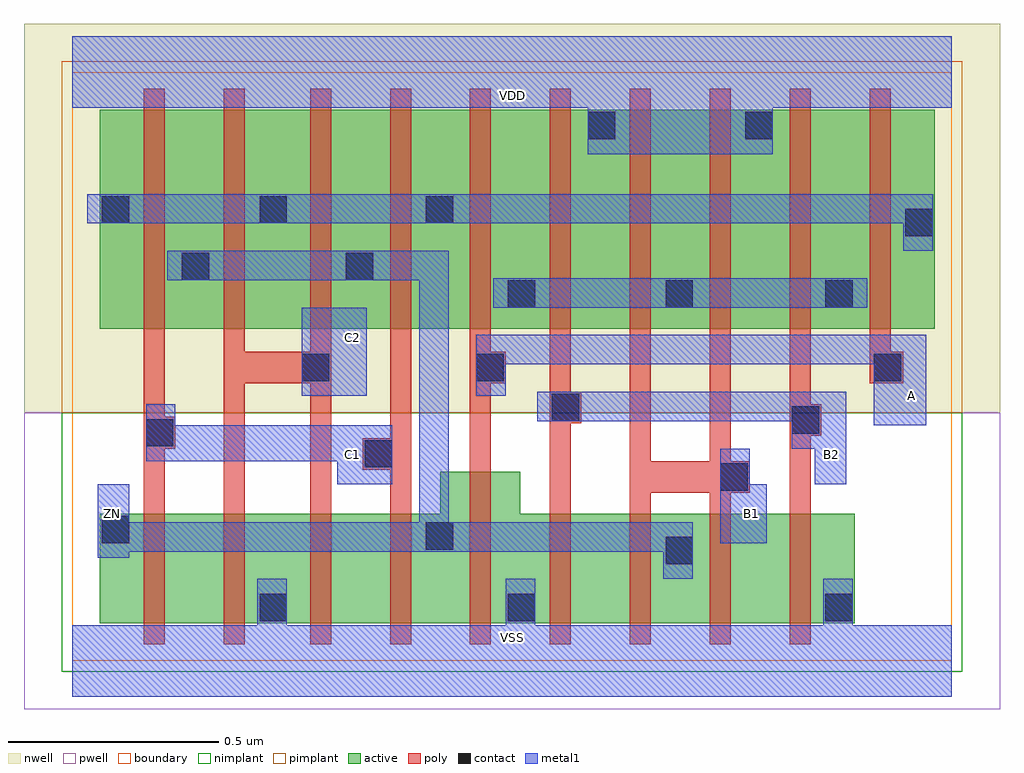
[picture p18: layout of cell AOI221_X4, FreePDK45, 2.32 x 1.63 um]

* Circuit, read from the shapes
.subckt AOI221_X4 A B1 B2 C1 C2 VDD VSS ZN
M1 n1 C1 ZN VSUBS nfet w=0.26u l=0.05u
M2 VSS C2 n1 VSUBS nfet w=0.26u l=0.05u
M3 n2 C2 VSS VSUBS nfet w=0.26u l=0.05u
M4 ZN C1 n2 VSUBS nfet w=0.26u l=0.05u
M5 VSS A ZN VSUBS nfet w=0.36u l=0.05u
M6 n3 B2 VSS VSUBS nfet w=0.26u l=0.05u
M7 ZN B1 n3 VSUBS nfet w=0.26u l=0.05u
M8 n4 B1 ZN VSUBS nfet w=0.26u l=0.05u
M9 VSS B2 n4 VSUBS nfet w=0.26u l=0.05u
M10 ZN C1 n5 n6 pfet w=0.52u l=0.05u m=2
M11 n5 C2 ZN n6 pfet w=0.52u l=0.05u m=2
M12 n7 A n5 n6 pfet w=0.52u l=0.05u m=2
M13 VDD B2 n7 n6 pfet w=0.52u l=0.05u m=2
M14 n7 B1 VDD n6 pfet w=0.52u l=0.05u m=2
.ends

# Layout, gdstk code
import gdstk
lib = gdstk.Library(unit=1e-6, precision=1e-10)
def R(c, l, rs):  # rectangles x0, y0, x1, y1
    for r in rs: c.add(gdstk.rectangle(r[:2], r[2:], *l))
def P(c, l, *ps):  # polygons
    for p in ps: c.add(gdstk.Polygon(p, *l))
active = (1, 0)
pwell = (2, 0)
nwell = (3, 0)
nimplant = (4, 0)
pimplant = (5, 0)
poly = (9, 0)
contact = (10, 0)
metal1 = (11, 0)
boundary = (235, 0)

aoi221_x4 = lib.new_cell('AOI221_X4')
R(aoi221_x4, active, [(0.065,0.79,2.05,1.31)])
P(aoi221_x4, active, [(0.065,0.09),(1.86,0.09),(1.86,0.35),(1.065,0.35),(1.065,0.45),(0.875,0.45),(0.875,0.35),(0.065,0.35)])
R(aoi221_x4, pwell, [(-0.115,-0.115,2.205,0.59)])
R(aoi221_x4, nwell, [(-0.115,0.59,2.205,1.515)])
R(aoi221_x4, nimplant, [(-0.025,-0.025,2.115,0.59)])
R(aoi221_x4, pimplant, [(-0.025,0.59,2.115,1.425)])
P(aoi221_x4, poly, [(0.17,0.04),(0.22,0.04),(0.22,0.505),(0.245,0.505),(0.245,0.58),(0.22,0.58),(0.22,1.36),(0.17,1.36)],
  [(0.36,0.04),(0.41,0.04),(0.41,0.66),(0.565,0.66),(0.565,0.04),(0.615,0.04),(0.615,1.36),(0.565,1.36),(0.565,0.735),(0.41,0.735),(0.41,1.36),(0.36,1.36)],
  [(0.69,0.455),(0.755,0.455),(0.755,0.04),(0.805,0.04),(0.805,1.36),(0.755,1.36),(0.755,0.53),(0.69,0.53)],
  [(0.945,0.04),(0.995,0.04),(0.995,0.66),(1.03,0.66),(1.03,0.735),(0.995,0.735),(0.995,1.36),(0.945,1.36)],
  [(1.135,0.04),(1.185,0.04),(1.185,0.565),(1.21,0.565),(1.21,0.64),(1.185,0.64),(1.185,1.36),(1.135,1.36)],
  [(1.325,0.04),(1.375,0.04),(1.375,0.4),(1.515,0.4),(1.515,0.04),(1.565,0.04),(1.565,0.4),(1.61,0.4),(1.61,0.475),(1.565,0.475),(1.565,1.36),(1.515,1.36),(1.515,0.475),(1.375,0.475),(1.375,1.36),(1.325,1.36)],
  [(1.705,0.04),(1.755,0.04),(1.755,0.535),(1.78,0.535),(1.78,0.61),(1.755,0.61),(1.755,1.36),(1.705,1.36)],
  [(1.895,0.66),(1.975,0.66),(1.975,0.735),(1.945,0.735),(1.945,1.36),(1.895,1.36)])
R(aoi221_x4, contact, [(0.445,0.095,0.51,0.16), (1.035,0.095,1.1,0.16), (1.79,0.095,1.855,0.16), (1.41,0.23,1.475,0.295), (0.84,0.265,0.905,0.33), (0.07,0.28,0.135,0.345), (1.54,0.405,1.605,0.47), (0.695,0.46,0.76,0.525), (0.175,0.51,0.24,0.575), (1.71,0.54,1.775,0.605), (1.14,0.57,1.205,0.635), (0.545,0.665,0.61,0.73), (0.96,0.665,1.025,0.73), (1.905,0.665,1.97,0.73), (1.035,0.84,1.1,0.905), (1.41,0.84,1.475,0.905), (1.79,0.84,1.855,0.905), (0.26,0.905,0.325,0.97), (0.65,0.905,0.715,0.97), (1.98,1.01,2.045,1.075), (0.07,1.04,0.135,1.105), (0.445,1.04,0.51,1.105), (0.84,1.04,0.905,1.105), (1.225,1.24,1.29,1.305), (1.6,1.24,1.665,1.305)])
R(aoi221_x4, metal1, [(0.545,0.63,0.7,0.84), (1,0.84,1.89,0.91)])
P(aoi221_x4, metal1, [(0.175,0.475),(0.63,0.475),(0.63,0.42),(0.76,0.42),(0.76,0.56),(0.245,0.56),(0.245,0.61),(0.175,0.61)],
  [(0.225,0.905),(0.825,0.905),(0.825,0.33),(0.135,0.33),(0.135,0.42),(0.06,0.42),(0.06,0.245),(0.135,0.245),(0.135,0.26),(1.405,0.26),(1.405,0.195),(1.475,0.195),(1.475,0.33),(0.895,0.33),(0.895,0.975),(0.225,0.975)],
  [(1.54,0.28),(1.65,0.28),(1.65,0.42),(1.61,0.42),(1.61,0.505),(1.54,0.505)],
  [(1.105,0.57),(1.71,0.57),(1.71,0.505),(1.765,0.505),(1.765,0.42),(1.84,0.42),(1.84,0.64),(1.105,0.64)],
  [(0.96,0.63),(1.03,0.63),(1.03,0.705),(1.905,0.705),(1.905,0.56),(2.03,0.56),(2.03,0.775),(0.96,0.775)],
  [(0.035,1.04),(1.975,1.04),(1.975,0.975),(2.045,0.975),(2.045,1.11),(0.035,1.11)],
  [(0,-0.085),(2.09,-0.085),(2.09,0.085),(1.855,0.085),(1.855,0.195),(1.785,0.195),(1.785,0.085),(1.1,0.085),(1.1,0.195),(1.03,0.195),(1.03,0.085),(0.51,0.085),(0.51,0.195),(0.44,0.195),(0.44,0.085),(0,0.085)],
  [(0,1.315),(1.225,1.315),(1.225,1.205),(1.665,1.205),(1.665,1.315),(2.09,1.315),(2.09,1.485),(0,1.485)])
R(aoi221_x4, boundary, [(0,0,2.09,1.4)])
aoi221_x4.add(gdstk.Label('A', (1.995,0.63), layer=11, texttype=0))
aoi221_x4.add(gdstk.Label('B1', (1.615,0.35), layer=11, texttype=0))
aoi221_x4.add(gdstk.Label('B2', (1.805,0.49), layer=11, texttype=0))
aoi221_x4.add(gdstk.Label('C1', (0.665,0.49), layer=11, texttype=0))
aoi221_x4.add(gdstk.Label('C2', (0.665,0.77), layer=11, texttype=0))
aoi221_x4.add(gdstk.Label('VDD', (1.045,1.345), layer=11, texttype=0))
aoi221_x4.add(gdstk.Label('VSS', (1.045,0.055), layer=11, texttype=0))
aoi221_x4.add(gdstk.Label('ZN', (0.095,0.35), layer=11, texttype=0))

lib.write_gds('AOI221_X4.gds')
